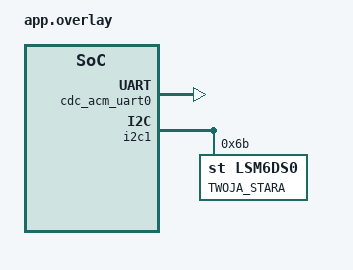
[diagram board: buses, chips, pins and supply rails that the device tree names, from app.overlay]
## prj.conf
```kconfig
# Copyright 2019 The TensorFlow Authors. All Rights Reserved.
#
# Licensed under the Apache License, Version 2.0 (the "License");
# you may not use this file except in compliance with the License.
# You may obtain a copy of the License at
#
#    http://www.apache.org/licenses/LICENSE-2.0
#
# Unless required by applicable law or agreed to in writing, software
# distributed under the License is distributed on an "AS IS" BASIS,
# WITHOUT WARRANTIES OR CONDITIONS OF ANY KIND, either express or implied.
# See the License for the specific language governing permissions and
# limitations under the License.
# ==============================================================================
CONFIG_CPLUSPLUS=y
CONFIG_NEWLIB_LIBC=y
CONFIG_LIB_CPLUSPLUS=y
CONFIG_NEWLIB_LIBC_FLOAT_PRINTF=y
CONFIG_SENSOR=y
CONFIG_NETWORKING=n
CONFIG_MAIN_STACK_SIZE=4096
CONFIG_TENSORFLOW_LITE_MICRO=y
CONFIG_UART_CONSOLE=y
CONFIG_UART_INTERRUPT_DRIVEN=y
CONFIG_PRINTK=y
CONFIG_SHELL=y
CONFIG_I2C=y
CONFIG_STDOUT_CONSOLE=y
CONFIG_SENSOR=y
CONFIG_LSM6DS0=y
CONFIG_GPIO=y
CONFIG_CLOCK_CONTROL_NRF_K32SRC_RC=y
CONFIG_CLOCK_CONTROL_NRF_K32SRC_250PPM=y
CONFIG_PM_DEVICE=y
CONFIG_TENSORFLOW_LITE_MICRO=y

# USB
CONFIG_USB_DEVICE_STACK=y
CONFIG_USB_DEVICE_PRODUCT="Zephyr USB console sample"
CONFIG_USB_DEVICE_PID=0x0004
CONFIG_USB_DEVICE_INITIALIZE_AT_BOOT=n

CONFIG_SERIAL=y
CONFIG_CONSOLE=y
CONFIG_UART_CONSOLE=y
CONFIG_UART_LINE_CTRL=y
```

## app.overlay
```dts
/ {
	chosen {
		zephyr,console = &cdc_acm_uart0;
	};
};


&zephyr_udc0 {
	cdc_acm_uart0: cdc_acm_uart0 {
		compatible = "zephyr,cdc-acm-uart";
	};
};

&i2c1 {
	compatible = "nordic,nrf-twi";
	status = "okay";
	pinctrl-0 = <&i2c1_default>;
	pinctrl-1 = <&i2c1_sleep>;
	pinctrl-names = "default", "sleep";
  lsm9ds0_imu: lsm6ds0@6b {
    compatible = "st,lsm6ds0";
    reg = < 0x6b >;
    label = "TWOJA_STARA";
    status = "okay";
  };
};
```

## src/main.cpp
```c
#include "main_functions.hpp"
#include <zephyr/kernel.h>
#include <zephyr/sys/printk.h>
#include <zephyr/usb/usb_device.h>
#include <zephyr/usb/usbd.h>
#include <zephyr/drivers/uart.h>
#include <zephyr/kernel.h>
#include <cstdio>

USBD_DEVICE_DEFINE(sample_usbd,
		   DEVICE_DT_GET(DT_NODELABEL(zephyr_udc0)),
		   0x2fe3, 0x0001);


int main(int argc, char *argv[])
{
  if (usb_enable(NULL)) {
		return 1;
	}
  k_sleep(K_SECONDS(2));
  k_sleep(K_SECONDS(1));
	setup();
	while (true) {
		loop();
	}
}
```

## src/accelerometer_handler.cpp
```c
/*
 * Copyright 2019 The TensorFlow Authors. All Rights Reserved.
 *
 * Licensed under the Apache License, Version 2.0 (the "License");
 * you may not use this file except in compliance with the License.
 * You may obtain a copy of the License at
 *
 *     http://www.apache.org/licenses/LICENSE-2.0
 *
 * Unless required by applicable law or agreed to in writing, software
 * distributed under the License is distributed on an "AS IS" BASIS,
 * WITHOUT WARRANTIES OR CONDITIONS OF ANY KIND, either express or implied.
 * See the License for the specific language governing permissions and
 * limitations under the License.
 */

#include "accelerometer_handler.hpp"

#include <device.h>
#include <drivers/sensor.h>
#include <stdio.h>
#include <string.h>
#include <kernel.h>

#define BUFLEN 300
int begin_index = 0;
const struct device *const sensor = DEVICE_DT_GET_ONE(st_lsm6ds0);
int current_index = 0;

float bufx[BUFLEN] = { 0.0f };
float bufy[BUFLEN] = { 0.0f };
float bufz[BUFLEN] = { 0.0f };

bool initial = true;

TfLiteStatus SetupAccelerometer(tflite::ErrorReporter *error_reporter)
{
	if (!device_is_ready(sensor)) {
		printk("%s: device not ready.\n", sensor->name);
		return kTfLiteApplicationError;
	}

	if (sensor == NULL) {
		TF_LITE_REPORT_ERROR(error_reporter,
				     "Failed to get accelerometer, name: %s\n",
				     sensor->name);
	} else {
		TF_LITE_REPORT_ERROR(error_reporter, "Got accelerometer, name: %s\n",
				     sensor->name);
	}
	return kTfLiteOk;
}

bool ReadAccelerometer(tflite::ErrorReporter *error_reporter, float *input,
		       int length)
{
	int rc;
	struct sensor_value accel[3];
	int samples_count;

	rc = sensor_sample_fetch(sensor);
	if (rc < 0) {
		TF_LITE_REPORT_ERROR(error_reporter, "Fetch failed\n");
		return false;
	}

	samples_count = 1;
	for (int i = 0; i < samples_count; i++) {
		rc = sensor_channel_get(sensor, SENSOR_CHAN_ACCEL_XYZ, accel);
		if (rc < 0) {
			TF_LITE_REPORT_ERROR(error_reporter, "ERROR: Update failed: %d\n", rc);
			return false;
		}
		bufx[begin_index] = (float)sensor_value_to_double(&accel[0])*100;
		bufy[begin_index] = (float)sensor_value_to_double(&accel[1])*100;
		bufz[begin_index] = (float)sensor_value_to_double(&accel[2])*100;
    printf("%f %f %f\n", bufx[begin_index], bufy[begin_index], bufz[begin_index]);
		begin_index++;
		if (begin_index >= BUFLEN) {
			begin_index = 0;
		}
	}

	if (initial && begin_index >= 100) {
		initial = false;
	}

	if (initial) {
		return false;
	}

	int sample = 0;
	for (int i = 0; i < (length - 3); i += 3) {
		int ring_index = begin_index + sample - length / 3;
		if (ring_index < 0) {
			ring_index += BUFLEN;
		}
		input[i] = bufx[ring_index];
		input[i + 1] = bufy[ring_index];
		input[i + 2] = bufz[ring_index];
		sample++;
	}
	return true;
}
```

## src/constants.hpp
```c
/*
 * Copyright 2019 The TensorFlow Authors. All Rights Reserved.
 *
 * Licensed under the Apache License, Version 2.0 (the "License");
 * you may not use this file except in compliance with the License.
 * You may obtain a copy of the License at
 *
 *     http://www.apache.org/licenses/LICENSE-2.0
 *
 * Unless required by applicable law or agreed to in writing, software
 * distributed under the License is distributed on an "AS IS" BASIS,
 * WITHOUT WARRANTIES OR CONDITIONS OF ANY KIND, either express or implied.
 * See the License for the specific language governing permissions and
 * limitations under the License.
 */

#ifndef TENSORFLOW_LITE_MICRO_EXAMPLES_MAGIC_WAND_CONSTANTS_H_
#define TENSORFLOW_LITE_MICRO_EXAMPLES_MAGIC_WAND_CONSTANTS_H_

/* The expected accelerometer data sample frequency */
const float kTargetHz = 10;

/* What gestures are supported. */
constexpr int kGestureCount = 2;
constexpr int kWingGesture = 0;
constexpr int kNoGesture = 1;

#endif /* TENSORFLOW_LITE_MICRO_EXAMPLES_MAGIC_WAND_CONSTANTS_H_ */
```

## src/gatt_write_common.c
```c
/*
 * Copyright (c) 2022 Nordic Semiconductor ASA
 *
 * SPDX-License-Identifier: Apache-2.0
 */

#include "gatt_write_common.h"

static void write_cmd_cb(struct bt_conn *conn, void *user_data)
{
	static uint32_t cycle_stamp;
	uint64_t delta;

	delta = k_cycle_get_32() - cycle_stamp;
	delta = k_cyc_to_ns_floor64(delta);

	/* if last data rx-ed was greater than 1 second in the past,
	 * reset the metrics.
	 */
	if (delta > (1U * NSEC_PER_SEC)) {
		printf("%s: count= %u, len= %u, rate= %u bps.\n", __func__,
		       write_count, write_len, write_rate);

		last_write_rate = write_rate;

		write_count = 0U;
		write_len = 0U;
		write_rate = 0U;
		cycle_stamp = k_cycle_get_32();
	} else {
		uint16_t len;

		write_count++;

		/* Extract the 16-bit data length stored in user_data */
		len = (uint32_t)user_data & 0xFFFF;

		write_len += len;
		write_rate = ((uint64_t)write_len << 3) * (1U * NSEC_PER_SEC) /
			     delta;
	}
}

static void mtu_exchange_cb(struct bt_conn *conn, uint8_t err,
			    struct bt_gatt_exchange_params *params)
{
	printf("%s: MTU exchange %s (%u)\n", __func__,
	       err == 0U ? "successful" : "failed",
	       bt_gatt_get_mtu(conn));
}

static int mtu_exchange(struct bt_conn *conn)
{
	int err;

	printf("%s: Current MTU = %u\n", __func__, bt_gatt_get_mtu(conn));

	mtu_exchange_params.func = mtu_exchange_cb;

	printf("%s: Exchange MTU...\n", __func__);
	err = bt_gatt_exchange_mtu(conn, &mtu_exchange_params);
	if (err) {
		printf("%s: MTU exchange failed (err %d)", __func__, err);
	}

	return err;
}

static void connected(struct bt_conn *conn, uint8_t conn_err)
{
	struct bt_conn_info conn_info;
	char addr[BT_ADDR_LE_STR_LEN];
	int err;

	bt_addr_le_to_str(bt_conn_get_dst(conn), addr, sizeof(addr));

	if (conn_err) {
		printf("%s: Failed to connect to %s (%u)\n", __func__, addr,
		       conn_err);
		return;
	}

	err = bt_conn_get_info(conn, &conn_info);
	if (err) {
		printf("Failed to get connection info (%d).\n", err);
		return;
	}

	printf("%s: %s role %u\n", __func__, addr, conn_info.role);

	conn_connected = bt_conn_ref(conn);

	(void)mtu_exchange(conn);

#if defined(CONFIG_BT_SMP)
	if (conn_info.role == BT_CONN_ROLE_CENTRAL) {
		err = bt_conn_set_security(conn, BT_SECURITY_L2);
		if (err) {
			printf("Failed to set security (%d).\n", err);
		}
	}
#endif
}

static void disconnected(struct bt_conn *conn, uint8_t reason)
{
	struct bt_conn_info conn_info;
	char addr[BT_ADDR_LE_STR_LEN];
	int err;

	bt_addr_le_to_str(bt_conn_get_dst(conn), addr, sizeof(addr));

	err = bt_conn_get_info(conn, &conn_info);
	if (err) {
		printf("Failed to get connection info (%d).\n", err);
		return;
	}

	printf("%s: %s role %u (reason %u)\n", __func__, addr, conn_info.role,
	       reason);

	conn_connected = NULL;

	bt_conn_unref(conn);

	if (conn_info.role == BT_CONN_ROLE_CENTRAL) {
		start_scan_func();
	}
}

static bool le_param_req(struct bt_conn *conn, struct bt_le_conn_param *param)
{
	printf("%s: int (0x%04x, 0x%04x) lat %u to %u\n", __func__,
	       param->interval_min, param->interval_max, param->latency,
	       param->timeout);

	return true;
}

static void le_param_updated(struct bt_conn *conn, uint16_t interval,
			     uint16_t latency, uint16_t timeout)
{
	printf("%s: int 0x%04x lat %u to %u\n", __func__, interval,
	       latency, timeout);
}

#if defined(CONFIG_BT_SMP)
static void security_changed(struct bt_conn *conn, bt_security_t level,
			     enum bt_security_err err)
{
	printf("%s: to level %u (err %u)\n", __func__, level, err);
}
#endif

BT_CONN_CB_DEFINE(conn_callbacks) = {
	.connected = connected,
	.disconnected = disconnected,
	.le_param_req = le_param_req,
	.le_param_updated = le_param_updated,
#if defined(CONFIG_BT_SMP)
	.security_changed = security_changed,
#endif
};

int write_cmd(struct bt_conn *conn)
{
	static uint8_t data[BT_ATT_MAX_ATTRIBUTE_LEN] = {0, };
	static uint16_t data_len;
	uint16_t data_len_max;
	int err;

	data_len_max = bt_gatt_get_mtu(conn) - 3;
	if (data_len_max > BT_ATT_MAX_ATTRIBUTE_LEN) {
		data_len_max = BT_ATT_MAX_ATTRIBUTE_LEN;
	}

#if TEST_FRAGMENTATION_WITH_VARIABLE_LENGTH_DATA
	/* Use incremental length data for every write command */
	/* TODO: Include test case in BabbleSim tests */
	static bool decrement;

	if (decrement) {
		data_len--;
		if (data_len <= 1) {
			data_len = 1;
			decrement = false;
		}
	} else {
		data_len++;
		if (data_len >= data_len_max) {
			data_len = data_len_max;
			decrement = true;
		}
	}
#else
	/* Use fixed length data for every write command */
	data_len = data_len_max;
#endif

	/* Pass the 16-bit data length value (instead of reference) in
	 * user_data so that unique value is pass for each write callback.
	 * Using handle 0x0001, we do not care if it is writable, we just want
	 * to transmit the data across.
	 */
	err = bt_gatt_write_without_response_cb(conn, 0x0001, data, data_len,
						false, write_cmd_cb,
						(void *)((uint32_t)data_len));
	if (err) {
		printf("%s: Write cmd failed (%d).\n", __func__, err);
	}

	return err;
}
```

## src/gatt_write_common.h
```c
#ifndef PER_GATT_WRITE_H
#define PER_GATT_WRITE_H


#include <zephyr/kernel.h>
#include <zephyr/sys/printk.h>
#include <zephyr/bluetooth/bluetooth.h>
#include <zephyr/bluetooth/conn.h>
#include <zephyr/bluetooth/gatt.h>

#ifdef __cplusplus
extern "C" {
#endif

static struct bt_gatt_exchange_params mtu_exchange_params;
static uint32_t write_count;
static uint32_t write_len;
static uint32_t write_rate;
struct bt_conn *conn_connected;
uint32_t last_write_rate;
void (*start_scan_func)(void);

int write_cmd(struct bt_conn *conn);

#ifdef __cplusplus
}
#endif
#endif
```

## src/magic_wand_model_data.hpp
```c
/*
 * Copyright 2019 The TensorFlow Authors. All Rights Reserved.
 *
 * Licensed under the Apache License, Version 2.0 (the "License");
 * you may not use this file except in compliance with the License.
 * You may obtain a copy of the License at
 *
 *     http://www.apache.org/licenses/LICENSE-2.0
 *
 * Unless required by applicable law or agreed to in writing, software
 * distributed under the License is distributed on an "AS IS" BASIS,
 * WITHOUT WARRANTIES OR CONDITIONS OF ANY KIND, either express or implied.
 * See the License for the specific language governing permissions and
 * limitations under the License.
 */

/* This is a standard TensorFlow Lite model file that has been converted into a
 * C data array, so it can be easily compiled into a binary for devices that
 * don't have a file system. It was created using the command:
 * xxd -i magic_wand_model.tflite > magic_wand_model_data.cc
 */

#ifndef TENSORFLOW_LITE_MICRO_EXAMPLES_MAGIC_WAND_MAGIC_WAND_MODEL_DATA_H_
#define TENSORFLOW_LITE_MICRO_EXAMPLES_MAGIC_WAND_MAGIC_WAND_MODEL_DATA_H_

extern const unsigned char train_model_tflite[];
extern const unsigned int train_model_tflite_len;

#endif /* TENSORFLOW_LITE_MICRO_EXAMPLES_MAGIC_WAND_MAGIC_WAND_MODEL_DATA_H_ */
```

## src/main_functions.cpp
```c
/*
 * Copyright 2019 The TensorFlow Authors. All Rights Reserved.
 *
 * Licensed under the Apache License, Version 2.0 (the "License");
 * you may not use this file except in compliance with the License.
 * You may obtain a copy of the License at
 *
 *     http://www.apache.org/licenses/LICENSE-2.0
 *
 * Unless required by applicable law or agreed to in writing, software
 * distributed under the License is distributed on an "AS IS" BASIS,
 * WITHOUT WARRANTIES OR CONDITIONS OF ANY KIND, either express or implied.
 * See the License for the specific language governing permissions and
 * limitations under the License.
 */

#include "main_functions.hpp"
#include "peripheral_gatt_write.h"

#include "accelerometer_handler.hpp"
#include "constants.hpp"
#include "magic_wand_model_data.hpp"
#include <tensorflow/lite/micro/micro_error_reporter.h>
#include <tensorflow/lite/micro/micro_interpreter.h>
#include <tensorflow/lite/micro/micro_mutable_op_resolver.h>
#include <tensorflow/lite/schema/schema_generated.h>
#include <zephyr/kernel.h>

int timerCycleCount = 0;
namespace {
	tflite::ErrorReporter *error_reporter = nullptr;
	const tflite::Model *model = nullptr;
	tflite::MicroInterpreter *interpreter = nullptr;
	TfLiteTensor *model_input = nullptr;
	int input_length;
	constexpr int kTensorArenaSize = 60 * 1024;
	uint8_t tensor_arena[kTensorArenaSize];
} /* namespace */

void worker(struct k_work *work)
{
	ReadAccelerometer(error_reporter, model_input->data.f, input_length);
}

K_WORK_DEFINE(my_work, worker);

void my_timer_handler(struct k_timer *dummy)
{
  timerCycleCount++;
  k_work_submit(&my_work);
}

K_TIMER_DEFINE(my_timer, my_timer_handler, NULL);

void setup(void)
{
	static tflite::MicroErrorReporter micro_error_reporter; /* NOLINT */

	error_reporter = &micro_error_reporter;

	model = tflite::GetModel(train_model_tflite);
	if (model->version() != TFLITE_SCHEMA_VERSION) {
		TF_LITE_REPORT_ERROR(error_reporter,
				     "Model provided is schema version %d not equal "
				     "to supported version %d.",
				     model->version(), TFLITE_SCHEMA_VERSION);
		return;
	}

	static tflite::MicroMutableOpResolver < 6 > micro_op_resolver; /* NOLINT */
	micro_op_resolver.AddConv2D();
	micro_op_resolver.AddDepthwiseConv2D();
	micro_op_resolver.AddFullyConnected();
	micro_op_resolver.AddMaxPool2D();
	micro_op_resolver.AddSoftmax();
  micro_op_resolver.AddReshape();

	/* Build an interpreter to run the model with. */
	static tflite::MicroInterpreter static_interpreter(
		model, micro_op_resolver, tensor_arena, kTensorArenaSize, error_reporter);
	interpreter = &static_interpreter;

	/* Allocate memory from the tensor_arena for the model's tensors. */
	interpreter->AllocateTensors();

	/* Obtain pointer to the model's input tensor. */
	model_input = interpreter->input(0);
	if ((model_input->dims->size != 4) || (model_input->dims->data[0] != 1) ||
	    (model_input->dims->data[1] != 128) ||
	    (model_input->dims->data[2] != kChannelNumber) ||
	    (model_input->type != kTfLiteFloat32)) {
    while(1)
		TF_LITE_REPORT_ERROR(error_reporter,
				     "Bad input tensor parameters in model");

		return;
	}

	input_length = model_input->bytes / sizeof(float);

	TfLiteStatus setup_status = SetupAccelerometer(error_reporter);
	if (setup_status != kTfLiteOk) {
		TF_LITE_REPORT_ERROR(error_reporter, "Set up failed\n");
	}
  k_timer_start(&my_timer, K_MSEC(40), K_MSEC(40));

	printf("Preparing BLE\n");
	peripheral_gatt_prepare_ble();
}


void loop(void)
{
	/* Attempt to read new data from the accelerometer. */
	/* Run inference, and report any error */
  if(timerCycleCount%10 == 0){
    TfLiteStatus invoke_status = interpreter->Invoke();
    if (invoke_status != kTfLiteOk) {
      TF_LITE_REPORT_ERROR(error_reporter, "Invoke failed on index: %d\n",
               begin_index);
      return;
    }
    int gesture_index=3;
    float max_pred = -1;
    for (int i=0; i<2; i++) {
      if (interpreter->output(0)->data.f[i] > max_pred) {
        max_pred = interpreter->output(0)->data.f[i];
        gesture_index = i;
      }
    }
		printf("gesture_index: %d @ %f\n", gesture_index, max_pred);
		int pred = gesture_index ? 0 : (int)(max_pred*100.0f);
		peripheral_gatt_send_ble(5, pred);
  }
  return;
}
```

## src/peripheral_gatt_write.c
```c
/*
 * Copyright (c) 2022 Nordic Semiconductor ASA
 *
 * SPDX-License-Identifier: Apache-2.0
 */
#include "peripheral_gatt_write.h"

// fucking stolen

extern int mtu_exchange(struct bt_conn *conn);
extern int write_cmd(struct bt_conn *conn);
extern struct bt_conn *conn_connected;
extern uint32_t last_write_rate;

// DATA TO SEND OVER BLE GATT
static uint8_t current_state = 0x69;

// XXX: change these values

/* This function is called whenever the CCCD register has been changed by the client */
void on_cccd_changed(const struct bt_gatt_attr *attr, uint16_t value) {
    ARG_UNUSED(attr);
    switch (value) {
    case BT_GATT_CCC_NOTIFY:
        // Start sending stuff!
        break;
    case BT_GATT_CCC_INDICATE:
        // Start sending stuff via indications
        break;
    case 0:
        // Stop sending stuff
        break;
    default:
        printf("Error, CCCD has been set to an invalid value");
    }
}

BT_GATT_SERVICE_DEFINE(send_service,
											BT_GATT_PRIMARY_SERVICE(BT_UUID_MY_SERVICE),
                      BT_GATT_CHARACTERISTIC(BT_UUID_MY_SERVICE_TX, BT_GATT_CHRC_BROADCAST | BT_GATT_CHRC_READ | BT_GATT_CHRC_NOTIFY, BT_GATT_PERM_READ, NULL, NULL, NULL),
                      BT_GATT_CCC(on_cccd_changed, BT_GATT_PERM_READ | BT_GATT_PERM_WRITE_ENCRYPT));
//


static void on_sent(struct bt_conn *conn, void *user_data) {
    ARG_UNUSED(user_data);

    const bt_addr_le_t *addr = bt_conn_get_dst(conn);

    // printf("Data sent to Address 0x %02X %02X %02X %02X %02X %02X \n", addr->a.val[0],
    //        addr->a.val[1], addr->a.val[2], addr->a.val[3], addr->a.val[4], addr->a.val[5]);
}

void send_service_send(struct bt_conn *conn) {
    const struct bt_gatt_attr *attr = &send_service.attrs[2];

    struct bt_gatt_notify_params params = {.uuid = BT_UUID_MY_SERVICE_TX,
                                           .attr = attr,
                                           .data = &current_state,
                                           .len = sizeof(current_state),
                                           .func = on_sent};

    // // Check whether notifications are enabled or not
    if (conn && bt_gatt_is_subscribed(conn, attr, BT_GATT_CCC_NOTIFY)) {
        // // Send the notification
        if (bt_gatt_notify_cb(conn, &params)) {
            printf("Error, unable to send notification\n");
        }
    } else {
        // printf("Warning, notification not enabled on the selected attribute\n");
    }
}

static const struct bt_data ad[] = {
	BT_DATA_BYTES(BT_DATA_FLAGS, (BT_LE_AD_GENERAL | BT_LE_AD_NO_BREDR)),
};

static void mtu_updated(struct bt_conn *conn, uint16_t tx, uint16_t rx)
{
	printf("Updated MTU: TX: %d RX: %d bytes\n", tx, rx);
}

#if defined(CONFIG_BT_SMP)
static void auth_cancel(struct bt_conn *conn)
{
	char addr[BT_ADDR_LE_STR_LEN];

	bt_addr_le_to_str(bt_conn_get_dst(conn), addr, sizeof(addr));

	printf("Pairing cancelled: %s\n", addr);
}

static struct bt_conn_auth_cb auth_callbacks = {
	.cancel = auth_cancel,
};
#endif /* CONFIG_BT_SMP */

static struct bt_gatt_cb gatt_callbacks = {
	.att_mtu_updated = mtu_updated
};

uint32_t peripheral_gatt_write(uint32_t count)
{
	int err;

	err = bt_enable(NULL);
	if (err) {
		printf("Bluetooth init failed (err %d)\n", err);
		return 0U;
	}

	printf("Bluetooth initialized\n");

	bt_gatt_cb_register(&gatt_callbacks);

#if defined(CONFIG_BT_SMP)
	(void)bt_conn_auth_cb_register(&auth_callbacks);
#endif /* CONFIG_BT_SMP */

	err = bt_le_adv_start(BT_LE_ADV_CONN_NAME, ad, ARRAY_SIZE(ad), NULL, 0);
	if (err) {
		printf("Advertising failed to start (err %d)\n", err);
		return 0U;
	}

	printf("Advertising successfully started\n");

	conn_connected = NULL;
	last_write_rate = 0U;

	while (true) {
		struct bt_conn *conn = NULL;

		if (conn_connected) {
			/* Get a connection reference to ensure that a
			 * reference is maintained in case disconnected
			 * callback is called while we perform GATT Write
			 * command.
			 */
			conn = bt_conn_ref(conn_connected);
		}

		if (conn) {
			write_cmd(conn);
			bt_conn_unref(conn);

			// Actual sending shit
			send_service_send(conn);
			// current_state++;
			if (count) {
				count--;
				if (!count) {
					break;
				}
			}

			k_yield();
		} else {
			k_sleep(K_SECONDS(1));
		}
	}

	return last_write_rate;
}

void peripheral_gatt_prepare_ble()
{
	int err;

	err = bt_enable(NULL);
	if (err) {
		printf("Bluetooth init failed (err %d)\n", err);
		return;
	}

	printf("Bluetooth initialized\n");

	bt_gatt_cb_register(&gatt_callbacks);

#if defined(CONFIG_BT_SMP)
	(void)bt_conn_auth_cb_register(&auth_callbacks);
#endif /* CONFIG_BT_SMP */

	err = bt_le_adv_start(BT_LE_ADV_CONN_NAME, ad, ARRAY_SIZE(ad), NULL, 0);
	if (err) {
		printf("Advertising failed to start (err %d)\n", err);
		return 0U;
	}

	printf("Advertising successfully started\n");

	conn_connected = NULL;
	last_write_rate = 0U;
}

void peripheral_gatt_send_ble(int count, int data)
{
	// printf("well hello there!\n");
	// conn_connected = NULL;
	// last_write_rate = 0U;

	// printf("entering loop\n");
	while (true) {
		struct bt_conn *conn = NULL;

		if (conn_connected) {
			/* Get a connection reference to ensure that a
			 * reference is maintained in case disconnected
			 * callback is called while we perform GATT Write
			 * command.
			 */
			conn = bt_conn_ref(conn_connected);
		}

		if (conn)
		{
			// printf("seinding... ");
			write_cmd(conn);
			bt_conn_unref(conn);
			send_service_send(conn);
			// printf("sent!\n");

			current_state = data;

			if (count)
			{
				count--;
				if (!count)
				{
					// printf("!count!\n");
					// conn_connected = NULL;
					return;
					// break;
				}
			}

			// printf("end of the lopp!\n");
			// bt_conn_unref(conn);
		}
		else
		{
			// printf("else\n");
			// k_sleep(K_SECONDS(1));
			return;
		}
	}
}
```

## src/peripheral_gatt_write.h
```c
#ifndef PER_GATT_WRITE_H
#define PER_GATT_WRITE_H

#include "gatt_write_common.h"

#include <stdio.h>
#include <zephyr/types.h>
#include <zephyr/kernel.h>
#include <zephyr/sys/printk.h>
#include <zephyr/bluetooth/bluetooth.h>
#include <zephyr/bluetooth/conn.h>
#include <zephyr/bluetooth/addr.h>
#include <zephyr/bluetooth/bluetooth.h>
#include <zephyr/bluetooth/conn.h>
#include <zephyr/bluetooth/gatt.h>
#include <zephyr/bluetooth/hci.h>
#include <zephyr/bluetooth/uuid.h>
#include <zephyr/drivers/gpio.h>
#include <zephyr/kernel.h>
#include <zephyr/sys/byteorder.h>
#include <zephyr/sys/printk.h>
#include <zephyr/types.h>
#include <zephyr/bluetooth/gatt.h>

#ifdef __cplusplus
extern "C" {
#endif

#define TX_CHARACTERISTIC_UUID                                                                \
    0xED, 0x69, 0x20, 0x11, 0x92, 0xE7, 0x43, 0x5A, 0xAA, 0xE9, 0x94, 0x43, 0x35, 0x6A, 0xD4, \
        0xD3
#define MY_SERVICE_UUID                                                                       \
    0xd4, 0x86, 0x48, 0x24, 0x54, 0xB3, 0x43, 0xA1, 0xBC, 0x20, 0x97, 0x8F, 0xC3, 0x76, 0xC2, \
        0x75

#define BT_UUID_MY_SERVICE BT_UUID_DECLARE_128(MY_SERVICE_UUID)
#define BT_UUID_MY_SERVICE_TX BT_UUID_DECLARE_128(TX_CHARACTERISTIC_UUID)

uint32_t peripheral_gatt_write(uint32_t count);
void peripheral_gatt_prepare_ble();
void peripheral_gatt_send_ble(int count, int data);

#ifdef __cplusplus
}
#endif
#endif
```
